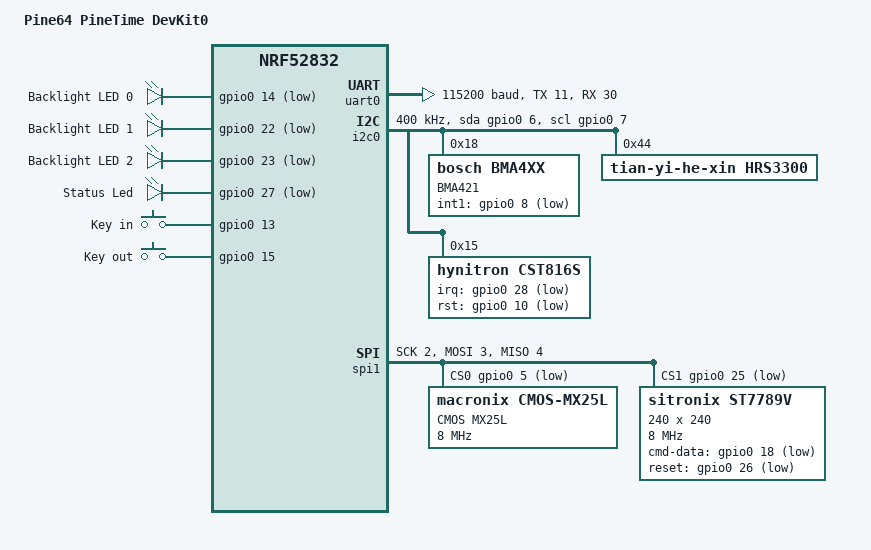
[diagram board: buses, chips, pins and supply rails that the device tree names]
/*
 * Copyright (c) 2020 Stephane Dorre <stephane.dorre@gmail.com>
 *
 * SPDX-License-Identifier: Apache-2.0
 *
 * DTS for Pine64 PineTime DevKit-0 board
 * Further info: https://wiki.pine64.org/index.php/PineTime
 *
 */

/dts-v1/;
#include <nordic/nrf52832_qfaa.dtsi>

/ {
	model = "Pine64 PineTime DevKit0";
	compatible = "pine64,pinetime-devkit0";

	chosen {
		zephyr,console = &uart0;
		zephyr,shell-uart = &uart0;
		zephyr,bt-mon-uart = &uart0;
		zephyr,bt-c2h-uart = &uart0;
		zephyr,sram = &sram0;
		zephyr,flash = &flash0;
		zephyr,code-partition = &slot0_partition;
	};

	aliases {
		led0 = &blled0;	/* backlight low */
		led1 = &blled1;	/* backlight mid */
		led2 = &blled2;	/* backlight high */
		led3 = &statusled;	/* status led, may be not populated */
		sw0 = &key_in;  /* key in */
		sw1 = &key_out;  /* key out */
	};

	leds {
		compatible = "gpio-leds";
		blled0: bl_led_0 {
			gpios = <&gpio0 14 GPIO_ACTIVE_LOW>;
			label = "Backlight LED 0";
		};
		blled1: bl_led_1 {
			gpios = <&gpio0 22 GPIO_ACTIVE_LOW>;
			label = "Backlight LED 1";
		};
		blled2: bl_led_2 {
			gpios = <&gpio0 23 GPIO_ACTIVE_LOW>;
			label = "Backlight LED 2";
		};
		statusled: led_3 {
			gpios = <&gpio0 27 GPIO_ACTIVE_LOW>;
			label = "Status Led";
		};
	};

	buttons {
		compatible = "gpio-keys";
		key_in: button_0 {
			gpios = <&gpio0 13 GPIO_ACTIVE_HIGH>;
			label = "Key in";
		};
		key_out: button_1 {
			gpios = <&gpio0 15 GPIO_ACTIVE_HIGH>;
			label = "Key out";
		};
	};
};

&gpiote {
	status = "okay";
};

&gpio0 {
	status = "okay";
};

&uart0 {
	compatible = "nordic,nrf-uart";
	current-speed = <115200>;
	status = "okay";
	tx-pin = <11>;
	rx-pin = <30>;
};

&i2c0 {
	compatible = "nordic,nrf-twim";
	status = "okay";
	sda-gpios = <&gpio0 6 0>;
	scl-gpios = <&gpio0 7 0>;
	clock-frequency = <I2C_BITRATE_FAST>; /* 400KHz */

	/* BOSCH BMA421 Triaxial Acceleration Sensor (1000KHz) */
	bma421: bma421@18 {
		compatible = "bosch,bma4xx";
		reg = <0x18>;
		label = "BMA421";
		int1-gpios = <&gpio0 8 GPIO_ACTIVE_LOW>;
	};

	/* TianYiHeXin HRS3300 PPG Hear Rate Sensor (800KHz) */
	hrs3300: hrs3300@44 {
		compatible = "tian-yi-he-xin,hrs3300";
		reg = <0x44>;
		label = "HRS3300";
	};

	/* Hynitron CST816S Capacitive Touch Controller (400KHz) */
	cst816s: cst816s@15 {
		compatible = "hynitron,cst816s";
		reg = <0x15>;
		label = "CST816S";
		irq-gpios = <&gpio0 28 GPIO_ACTIVE_LOW>;
		rst-gpios = <&gpio0 10 GPIO_ACTIVE_LOW>;
	};
};

&spi1 {
	compatible = "nordic,nrf-spi";
	status = "okay";
	sck-pin = <2>;
	mosi-pin = <3>;
	miso-pin = <4>;

	cs-gpios = <&gpio0 5 GPIO_ACTIVE_LOW>, <&gpio0 25 GPIO_ACTIVE_LOW>;

	/* Macronix MX25L CMOS Flash Memory */
	mx25l: mx25l@0 {
		compatible = "macronix,cmos-mx25l";
		reg = <0>;
		spi-max-frequency = <8000000>; /* 8MHz */
		label = "CMOS MX25L";
	};

	/* Sitronix ST7789V LCD */
	st7789v: st7789v@1 {
		compatible = "sitronix,st7789v";
		reg = <1>;
		spi-max-frequency = <8000000>; /* 8MHz */
		label = "ST7789V";
		cmd-data-gpios = <&gpio0 18 GPIO_ACTIVE_LOW>;	/* DET */
		reset-gpios = <&gpio0 26 GPIO_ACTIVE_LOW>;	/* RESX reset */
		width = <240>;
		height = <240>;
		x-offset = <0>;
		y-offset = <0>;
		vcom = <0x19>;
		gctrl = <0x35>;
		vrhs = <0x12>;
		vdvs = <0x20>;
		mdac = <0x00>;
		gamma = <0x01>;
		colmod = <0x05>;
		lcm = <0x2c>;
		porch-param = [0c 0c 00 33 33];
		cmd2en-param = [5a 69 02 01];
		pwctrl1-param = [a4 a1];
		pvgam-param = [D0 04 0D 11 13 2B 3F 54 4C 18 0D 0B 1F 23];
		nvgam-param = [D0 04 0C 11 13 2C 3F 44 51 2F 1F 1F 20 23];
		ram-param = [00 F0];
		rgb-param = [CD 08 14];
	};
};

&flash0 {
	partitions {
		compatible = "fixed-partitions";
		#address-cells = <1>;
		#size-cells = <1>;

		/* MCUboot bootloader */
		boot_partition: partition@0 {
			label = "mcuboot";
			reg = <0x00000000 0xc000>;
		};

		/* main firmware partition */
		slot0_partition: partition@c000 {
			label = "image-0";
			reg = <0x0000C000 0x32000>;
		};

		/* next firmware update */
		slot1_partition: partition@3e000 {
			label = "image-1";
			reg = <0x0003E000 0x32000>;
		};

		/* needed to slot0-slot1 swapping */
		scratch_partition: partition@70000 {
			label = "image-scratch";
			reg = <0x00070000 0xa000>;
		};

		/* to be used in firmware */
		storage_partition: partition@7a000 {
			label = "storage";
			reg = <0x0007a000 0x00006000>;
		};
	};
};
